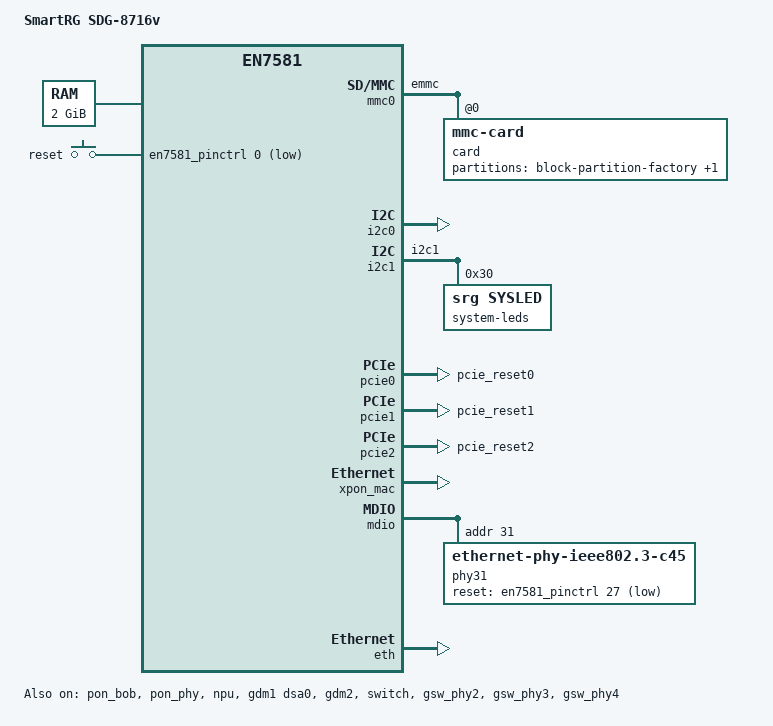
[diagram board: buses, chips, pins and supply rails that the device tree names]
// SPDX-License-Identifier: (GPL-2.0-only OR BSD-2-Clause)
/dts-v1/;

/* Bootloader installs ATF here */
/memreserve/ 0x80000000 0x200000;

#include <dt-bindings/leds/common.h>
#include <dt-bindings/gpio/gpio.h>
#include <dt-bindings/input/input.h>
#include "an7581.dtsi"
#include "an7581-smartrg-dragontail.dtsi"
#include "an7581-smartrg-pon.dtsi"

/ {
	model = "SmartRG SDG-8716v";
	compatible = "smartrg,sdg-8716v", "airoha,an7581", "airoha,en7581";

	aliases {
		serial0 = &uart1;
		led-boot = &led_sys_green;
		led-failsafe = &led_sys_blue;
		led-running = &led_sys_white;
		led-upgrade = &led_sys_red;
	};

	chosen {
		bootargs = "console=ttyS0,115200 earlycon";
		stdout-path = "serial0:115200n8";
		linux,usable-memory-range = <0x0 0x80200000 0x0 0x7fe00000>;
	};

	memory@80000000 {
		device_type = "memory";
		reg = <0x0 0x80000000 0x0 0x80000000>;
	};

	gpio-keys-polled {
		compatible = "gpio-keys-polled";
		poll-interval = <100>;

		button-reset {
			label = "reset";
			linux,code = <KEY_RESTART>;
			gpios = <&en7581_pinctrl 0 GPIO_ACTIVE_LOW>;
		};
	};
};

&en7581_pinctrl {
	gpio-ranges = <&en7581_pinctrl 0 13 47>;

	mdio_pins: mdio-pins {
		mux {
			function = "mdio";
			groups = "mdio";
		};

		conf {
			pins = "gpio2";
			output-high;
		};
	};

	i2c1_pins: i2c1-pins {
		mux {
			function = "i2c";
			groups = "i2c1";
		};
	};

	pcie0_rst_pins: pcie0-rst-pins {
		conf {
			pins = "pcie_reset0";
			drive-open-drain = <1>;
		};
	};

	pcie1_rst_pins: pcie1-rst-pins {
		conf {
			pins = "pcie_reset1";
			drive-open-drain = <1>;
		};
	};

	pcie2_rst_pins: pcie2-rst-pins {
		conf {
			pins = "pcie_reset2";
			drive-open-drain = <1>;
		};
	};

	gswp1_led0_pins: gswp1-led0-pins {
		mux {
			function = "phy1_led0";
			pins = "gpio33";
		};
	};

	gswp2_led0_pins: gswp2-led0-pins {
		mux {
			function = "phy2_led0";
			pins = "gpio34";
		};
	};

	gswp3_led0_pins: gswp3-led0-pins {
		mux {
			function = "phy3_led0";
			pins = "gpio35";
		};
	};

	gswp4_led0_pins: gswp4-led0-pins {
		mux {
			function = "phy4_led0";
			pins = "gpio42";
		};
	};

	mmc_pins: mmc-pins {
		mux {
			function = "emmc";
			groups = "emmc";
		};
	};
};

&usb0 {
	status = "disabled";
};

&usb1 {
	status = "disabled";

	mediatek,u3p-dis-msk = <0x1>;
	phys = <&usb1_phy PHY_TYPE_USB2>;
};

&mmc0 {
	pinctrl-names = "default", "state_uhs";
	pinctrl-0 = <&mmc_pins>;
	pinctrl-1 = <&mmc_pins>;
	status = "okay";

	#address-cells = <1>;
	#size-cells = <0>;

	card@0 {
		#address-cells = <0>;
		#size-cells = <0>;
		compatible = "mmc-card";
		reg = <0>;

		block {
			compatible = "block-device";

			partitions {
				block-partition-factory {
					partname = "factory";

					nvmem-layout {
						compatible = "fixed-layout";
						#address-cells = <1>;
						#size-cells = <1>;

						eeprom_factory_0: eeprom@0 {
							reg = <0x0 0x1e00>;
						};

						precal_factory_1e10: precal@1e10 {
							reg = <0x1e10 0xedfd0>;
						};

						pon_factory_1d0000: pon@1d0000 {
							reg = <0x1d0000 0x400>;
						};

						onu_type_factory_1e0000: onu_type@1e0000 {
							reg = <0x1e0000 0x10>;
						};
					};
				};

				block-partition-mfginfo {
					partname = "mfginfo";

					nvmem-layout {
						compatible = "adtran,mfginfo";

						macaddr: mfg-mac {
							#nvmem-cell-cells = <1>;
						};
					};
				};
			};
		};
	};
};

&i2c0 {
	status = "okay";
};

&i2c1 {
	pinctrl-names = "default";
	pinctrl-0 = <&i2c1_pins>;
	status = "okay";

	/**
	 * !!!! WARNING !!!!
	 * i2c1 won't function unless you poke the iomux register
	 *
	 * devmem 0x1fa20214 32 0x00002000
	 *
	 * Airoha needs to fix this in their driver
	 */

	system-leds@30 {
		compatible = "srg,sysled";
		reg = <0x30>;
		#address-cells = <1>;
		#size-cells = <0>;

		led_sys_red: system_red {
			label = "red";
			reg = <1>;
		};

		led_sys_green: system_green {
			label = "green";
			reg = <2>;
		};

		led_sys_blue: system_blue {
			label = "blue";
			reg = <3>;
		};

		led_sys_white: system_white {
			label = "white";
			reg = <4>;
		};
	};
};

&pcie0 {
	pinctrl-names = "default";
	pinctrl-0 = <&pcie0_rst_pins>;
	status = "okay";
};

&pcie1 {
	pinctrl-names = "default";
	pinctrl-0 = <&pcie1_rst_pins>;
	status = "okay";

	pcie@1,0 {
		reg = <0x0000 0 0 0 0>;
		#address-cells = <3>;
		#size-cells = <2>;

		radio0: mt7992@0,0 {
			reg = <0x0000 0 0 0 0>;
			#address-cells = <1>;
			#size-cells = <0>;

			airoha,npu = <&npu>;
			airoha,eth = <&eth>;
			nvmem-cells = <&eeprom_factory_0>, <&precal_factory_1e10>;
			nvmem-cell-names = "eeprom", "precal";
			ieee80211-freq-limit = <2400000 2500000>, <5170000 5835000>;

			band@0 {
				/* 2.4 GHz */
				reg = <0>;
				nvmem-cells = <&macaddr 0x4>;
				nvmem-cell-names = "mac-address";
			};

			band@1 {
				/* 5 GHz */
				reg = <1>;
				nvmem-cells = <&macaddr 0xa>;
				nvmem-cell-names = "mac-address";
			};
		};
	};
};

&pcie2 {
	pinctrl-names = "default";
	pinctrl-0 = <&pcie2_rst_pins>;
	status = "okay";
};

&pon_bob {
	nvmem-cells = <&pon_factory_1d0000>, <&onu_type_factory_1e0000>;
	nvmem-cell-names = "bob_data", "onu_type";

	status = "okay";
};

&pon_phy {
	status = "okay";
};

&xpon_mac {
	nvmem-cells = <&onu_type_factory_1e0000>, <&macaddr 0x0>;
	nvmem-cell-names = "onu_type", "pon_mac";

	status = "okay";
};

&mdio {
	phy31: ethernet-phy@1f {
		compatible = "ethernet-phy-ieee802.3-c45";
		reg = <0x1f>;

		firmware-name = "as21x1x_fw.bin";

		reset-deassert-us = <1000000>;
		reset-assert-us = <1000000>;
		reset-gpios = <&en7581_pinctrl 27 GPIO_ACTIVE_LOW>;

		leds {
			#address-cells = <1>;
			#size-cells = <0>;

			led@0 {
				reg = <0>;
				color = <LED_COLOR_ID_GREEN>;
				function = LED_FUNCTION_LAN;
				function-enumerator = <0>;
				default-state = "keep";
			};

			led@1 {
				reg = <1>;
				color = <LED_COLOR_ID_GREEN>;
				function = LED_FUNCTION_LAN;
				function-enumerator = <1>;
				default-state = "keep";
			};
		};
	};
};

&npu {
	status = "okay";
};

&eth {
	nvmem-cells = <&macaddr 0x0>;
	nvmem-cell-names = "mac";
	status = "okay";
};

&gdm1 {
	label = "dsa0";

	status = "okay";
};

&gdm2 {
	nvmem-cells = <&macaddr 0x0>;
	nvmem-cell-names = "mac-address";

	status = "okay";
};

&gdm4 {
	label = "lan1";
	phy-handle = <&phy31>;
	phy-mode = "usxgmii";

	status = "disabled";
};

&switch {
	status = "okay";
};

&gsw_port1 {
	status = "disabled";
};

&gsw_phy2 {
	status = "okay";
};

&gsw_phy3 {
	status = "okay";
};

&gsw_phy4 {
	status = "okay";
};

&gsw_port4 {
	label = "wan";
};
